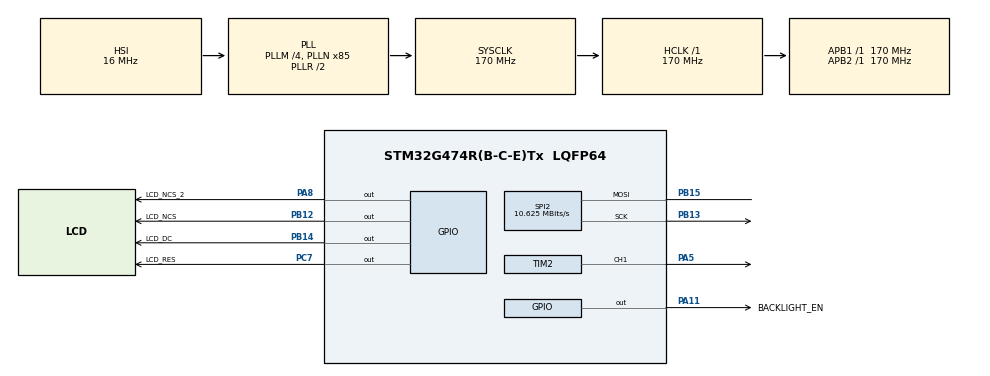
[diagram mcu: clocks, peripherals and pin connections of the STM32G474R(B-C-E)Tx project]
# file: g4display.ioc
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Dma.Request0=SPI2_TX
Dma.SPI2_TX.0.Direction=DMA_MEMORY_TO_PERIPH
Dma.SPI2_TX.0.EventEnable=DISABLE
Dma.SPI2_TX.0.Instance=DMA1_Channel1
Dma.SPI2_TX.0.MemDataAlignment=DMA_MDATAALIGN_BYTE
Dma.SPI2_TX.0.MemInc=DMA_MINC_ENABLE
Dma.SPI2_TX.0.Mode=DMA_NORMAL
Dma.SPI2_TX.0.PeriphDataAlignment=DMA_PDATAALIGN_BYTE
Dma.SPI2_TX.0.PeriphInc=DMA_PINC_DISABLE
Dma.SPI2_TX.0.Polarity=HAL_DMAMUX_REQ_GEN_RISING
Dma.SPI2_TX.0.Priority=DMA_PRIORITY_LOW
Dma.SPI2_TX.0.RequestNumber=1
Dma.SPI2_TX.0.SignalID=NONE
Dma.SPI2_TX.0.SyncEnable=DISABLE
Dma.SPI2_TX.0.SyncPolarity=HAL_DMAMUX_SYNC_NO_EVENT
Dma.SPI2_TX.0.SyncRequestNumber=1
Dma.SPI2_TX.0.SyncSignalID=NONE
FREERTOS.Tasks01=defaultTask,24,128,StartDefaultTask,Default,NULL,Dynamic,NULL,NULL
FREERTOS.configTOTAL_HEAP_SIZE=32768
Mcu.Family=STM32G4
Mcu.Name=STM32G474R(B-C-E)Tx
Mcu.Package=LQFP64
NVIC.DMA1_Channel1_IRQn=true\:5\:0\:false\:false\:true\:true\:false\:true\:true
NVIC.PriorityGroup=NVIC_PRIORITYGROUP_4
NVIC.TIM1_UP_TIM16_IRQn=true\:15\:0\:false\:false\:true\:false\:false\:true\:true
NVIC.TimeBase=TIM1_UP_TIM16_IRQn
NVIC.TimeBaseIP=TIM1
PA11.GPIO_Label=BACKLIGHT_EN
PA11.Signal=GPIO_Output
PA13.GPIO_Label=T_SWDIO
PA13.Signal=SYS_JTMS-SWDIO
PA14.GPIO_Label=T_SWCLK
PA14.Signal=SYS_JTCK-SWCLK
PA5.Signal=S_TIM2_CH1
PA8.GPIO_Label=LCD_NCS_2
PA8.Signal=GPIO_Output
PB12.GPIO_Label=LCD_NCS
PB12.Signal=GPIO_Output
PB13.GPIO_Speed=GPIO_SPEED_FREQ_VERY_HIGH
PB13.Mode=Simplex_Bidirectional_Master
PB13.Signal=SPI2_SCK
PB14.GPIO_Label=LCD_DC
PB14.Signal=GPIO_Output
PB15.GPIO_Speed=GPIO_SPEED_FREQ_VERY_HIGH
PB15.Mode=Simplex_Bidirectional_Master
PB15.Signal=SPI2_MOSI
PB3.GPIO_Label=T_SWO
PB3.Signal=SYS_JTDO-SWO
PC14-OSC32_IN.GPIO_Label=RCC_OSC32_IN
PC14-OSC32_IN.Signal=RCC_OSC32_IN
PC15-OSC32_OUT.GPIO_Label=RCC_OSC32_OUT
PC15-OSC32_OUT.Signal=RCC_OSC32_OUT
PC7.GPIO_Label=LCD_RES
PC7.Signal=GPIO_Output
PF0-OSC_IN.GPIO_Label=RCC_OSC_IN
PF0-OSC_IN.Signal=RCC_OSC_IN
PF1-OSC_OUT.GPIO_Label=RCC_OSC_OUT
PF1-OSC_OUT.Signal=RCC_OSC_OUT
ProjectManager.HeapSize=0x200
ProjectManager.StackSize=0x400
ProjectManager.TargetToolchain=CMake
RCC.ADC12Freq_Value=170000000
RCC.ADC345Freq_Value=170000000
RCC.AHBFreq_Value=170000000
RCC.APB1Freq_Value=170000000
RCC.APB1TimFreq_Value=170000000
RCC.APB2Freq_Value=170000000
RCC.APB2TimFreq_Value=170000000
RCC.CortexFreq_Value=170000000
RCC.EXTERNAL_CLOCK_VALUE=12288000
RCC.HCLKFreq_Value=170000000
RCC.HSE_VALUE=24000000
RCC.HSI48_VALUE=48000000
RCC.HSI_VALUE=16000000
RCC.LSE_VALUE=32768
RCC.PLLM=RCC_PLLM_DIV4
RCC.PLLN=85
RCC.RTCClockSelection=RCC_RTCCLKSOURCE_LSE
RCC.SYSCLKFreq_VALUE=170000000
RCC.SYSCLKSource=RCC_SYSCLKSOURCE_PLLCLK
RCC.USBFreq_Value=170000000
RCC.VCOOutputFreq_Value=340000000
SH.S_TIM2_CH1.0=TIM2_CH1,PWM Generation1 CH1
SPI2.BaudRatePrescaler=SPI_BAUDRATEPRESCALER_16
SPI2.CLKPhase=SPI_PHASE_1EDGE
SPI2.CalculateBaudRate=10.625 MBits/s
SPI2.DataSize=SPI_DATASIZE_8BIT
SPI2.Direction=SPI_DIRECTION_1LINE
SPI2.Mode=SPI_MODE_MASTER
SPI2.VirtualType=VM_MASTER
TIM2.Channel-PWM\ Generation1\ CH1=TIM_CHANNEL_1
TIM2.OCFastMode_PWM-PWM\ Generation1\ CH1=TIM_OCFAST_ENABLE
TIM2.PeriodNoDither=1000
VP_FREERTOS_VS_CMSIS_V2.Mode=CMSIS_V2
VP_SYS_VS_DBSignals.Mode=DisableDeadBatterySignals
VP_SYS_VS_tim1.Mode=TIM1
board=NUCLEO-G474RE

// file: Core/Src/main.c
/* USER CODE BEGIN Header */
/**
 ******************************************************************************
 * @file           : main.c
 * @brief          : Main program body
 ******************************************************************************
 * @attention
 *
 * Copyright (c) 2026 STMicroelectronics.
 * All rights reserved.
 *
 * This software is licensed under terms that can be found in the LICENSE file
 * in the root directory of this software component.
 * If no LICENSE file comes with this software, it is provided AS-IS.
 *
 ******************************************************************************
 */
/* USER CODE END Header */
#include "main.h"
#include "cmsis_os.h"
#include "dma.h"
#include "spi.h"
#include "tim.h"
#include "gpio.h"

/* USER CODE BEGIN Includes */
#include "LCDController.h"
/* USER CODE END Includes */

void SystemClock_Config(void);
void MX_FREERTOS_Init(void);

int main(void)
{

  /* MCU Configuration--------------------------------------------------------*/

  /* Reset of all peripherals, Initializes the Flash interface and the Systick. */
  HAL_Init();

  /* Configure the system clock */
  SystemClock_Config();

  /* Initialize all configured peripherals */
  MX_GPIO_Init();
  MX_DMA_Init();
  MX_SPI2_Init();
  MX_TIM2_Init();
  /* USER CODE BEGIN 2 */
  /* lv_init() and lv_port_disp_init() are called in StartDefaultTask
   * because ST7789_Init uses osDelay which requires the RTOS scheduler. */
  /* USER CODE END 2 */

  /* Init scheduler */
  osKernelInitialize();  /* Call init function for freertos objects (in cmsis_os2.c) */
  MX_FREERTOS_Init();

  /* Start scheduler */
  osKernelStart();

  /* We should never get here as control is now taken by the scheduler */

  /* Infinite loop */
  while (1) {

  }
}

void SystemClock_Config(void)
{
  RCC_OscInitTypeDef RCC_OscInitStruct = {0};
  RCC_ClkInitTypeDef RCC_ClkInitStruct = {0};

  /** Configure the main internal regulator output voltage
  */
  HAL_PWREx_ControlVoltageScaling(PWR_REGULATOR_VOLTAGE_SCALE1_BOOST);

  /** Initializes the RCC Oscillators according to the specified parameters
  * in the RCC_OscInitTypeDef structure.
  */
  RCC_OscInitStruct.OscillatorType = RCC_OSCILLATORTYPE_HSI;
  RCC_OscInitStruct.HSIState = RCC_HSI_ON;
  RCC_OscInitStruct.HSICalibrationValue = RCC_HSICALIBRATION_DEFAULT;
  RCC_OscInitStruct.PLL.PLLState = RCC_PLL_ON;
  RCC_OscInitStruct.PLL.PLLSource = RCC_PLLSOURCE_HSI;
  RCC_OscInitStruct.PLL.PLLM = RCC_PLLM_DIV4;
  RCC_OscInitStruct.PLL.PLLN = 85;
  RCC_OscInitStruct.PLL.PLLP = RCC_PLLP_DIV2;
  RCC_OscInitStruct.PLL.PLLQ = RCC_PLLQ_DIV2;
  RCC_OscInitStruct.PLL.PLLR = RCC_PLLR_DIV2;
  if (HAL_RCC_OscConfig(&RCC_OscInitStruct) != HAL_OK)
  {
    Error_Handler();
  }

  /** Initializes the CPU, AHB and APB buses clocks
  */
  RCC_ClkInitStruct.ClockType = RCC_CLOCKTYPE_HCLK|RCC_CLOCKTYPE_SYSCLK
                              |RCC_CLOCKTYPE_PCLK1|RCC_CLOCKTYPE_PCLK2;
  RCC_ClkInitStruct.SYSCLKSource = RCC_SYSCLKSOURCE_PLLCLK;
  RCC_ClkInitStruct.AHBCLKDivider = RCC_SYSCLK_DIV1;
  RCC_ClkInitStruct.APB1CLKDivider = RCC_HCLK_DIV1;
  RCC_ClkInitStruct.APB2CLKDivider = RCC_HCLK_DIV1;

  if (HAL_RCC_ClockConfig(&RCC_ClkInitStruct, FLASH_LATENCY_4) != HAL_OK)
  {
    Error_Handler();
  }
}

void HAL_TIM_PeriodElapsedCallback(TIM_HandleTypeDef *htim)
{
  if (htim->Instance == TIM1)
  {
    HAL_IncTick();
  }
}

void Error_Handler(void)
{
  __disable_irq();
  while (1) {
  }
}
#ifdef USE_FULL_ASSERT
/**
  * @brief  Reports the name of the source file and the source line number
  *         where the assert_param error has occurred.
  * @param  file: pointer to the source file name
  * @param  line: assert_param error line source number
  * @retval None
  */
void assert_failed(uint8_t *file, uint32_t line)
{
  /* USER CODE BEGIN 6 */
  /* User can add his own implementation to report the file name and line
     number, ex: printf("Wrong parameters value: file %s on line %d\r\n", file,
     line) */
  /* USER CODE END 6 */
}
#endif /* USE_FULL_ASSERT */

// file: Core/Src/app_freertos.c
/* USER CODE BEGIN Header */
/**
 ******************************************************************************
 * File Name          : app_freertos.c
 * Description        : Code for freertos applications
 ******************************************************************************
 * @attention
 *
 * Copyright (c) 2026 STMicroelectronics.
 * All rights reserved.
 *
 * This software is licensed under terms that can be found in the LICENSE file
 * in the root directory of this software component.
 * If no LICENSE file comes with this software, it is provided AS-IS.
 *
 ******************************************************************************
 */
/* USER CODE END Header */

#include "FreeRTOS.h"
#include "cmsis_os.h"
#include "main.h"
#include "task.h"

/* USER CODE BEGIN Includes */
#include "LCDController.h"
#include "tim.h"
#include <cmsis_os2.h>
#include <screens/ui_Screen1.h>
#include <spi.h>
#include <stdio.h>
#include <stm32g4xx_hal_tim.h>
#include <ui.h>
#include <ui_helpers.h>

/* USER CODE END Includes */

/* Mutex for protecting LVGL access from multiple tasks */
osMutexId_t lvgl_mutex;
const osMutexAttr_t lvgl_mutex_attr = {
    "lvgl_mutex",                          // human readable name
    osMutexRecursive | osMutexPrioInherit, // attr_bits
    NULL,                                  // memory
    0                                      // size
};

/* Definitions for defaultTask */
osThreadId_t defaultTaskHandle;
const osThreadAttr_t defaultTask_attributes = {
    .name = "defaultTask",
    .priority = (osPriority_t)osPriorityNormal,
    .stack_size = 512 * 4};

const osThreadAttr_t lvgl_tick_attributes = {.name = "lvgl_tick",
                                             .priority =
                                                 (osPriority_t)osPriorityNormal,
                                             .stack_size = 256 * 4};

const osThreadAttr_t lvgl_timer_attributes = {
    .name = "lvgl_timer",
    .priority = (osPriority_t)osPriorityNormal,
    .stack_size = 512 * 4};

/* USER CODE BEGIN FunctionPrototypes */
/* LVGL timer for tasks. */
void LVGLTimer(void *argument) {
  for (;;) {
    osMutexAcquire(lvgl_mutex, osWaitForever);
    lv_timer_handler();
    osMutexRelease(lvgl_mutex);
    osDelay(20);
  }
}
/* LVGL tick source */
void LVGLTick(void *argument) {
  for (;;) {
    lv_tick_inc(10);
    osDelay(10);
  }
}

/* USER CODE END FunctionPrototypes */

void StartDefaultTask(void *argument);

void MX_FREERTOS_Init(void); /* (MISRA C 2004 rule 8.1) */

void MX_FREERTOS_Init(void) {

  /* USER CODE BEGIN RTOS_MUTEX */
  lvgl_mutex = osMutexNew(&lvgl_mutex_attr);
  /* USER CODE END RTOS_MUTEX */

  /* Create the thread(s) */
  /* creation of defaultTask */
  defaultTaskHandle =
      osThreadNew(StartDefaultTask, NULL, &defaultTask_attributes);

  /* USER CODE BEGIN RTOS_THREADS */
  osThreadNew(LVGLTick, NULL, &lvgl_tick_attributes);
  osThreadNew(LVGLTimer, NULL, &lvgl_timer_attributes);
  /* USER CODE END RTOS_THREADS */

}

void StartDefaultTask(void *argument) {
  /* USER CODE BEGIN StartDefaultTask */

  /* Hardware reset the display */
  HAL_GPIO_WritePin(LCD_RES_GPIO_Port, LCD_RES_Pin, GPIO_PIN_RESET);
  osDelay(50);
  HAL_GPIO_WritePin(LCD_RES_GPIO_Port, LCD_RES_Pin, GPIO_PIN_SET);
  osDelay(50);
  HAL_GPIO_WritePin(BACKLIGHT_EN_GPIO_Port, BACKLIGHT_EN_Pin, GPIO_PIN_SET);

  /* Initialize LVGL and the display driver (must be done after RTOS starts,
   * because ST7789_Init uses osDelay) */
  lv_init();
  lv_port_disp_init();
  ui_init();

  lv_scr_load_anim(ui_Screen1, LV_SCR_LOAD_ANIM_FADE_IN, 500, 0, true);

  // lv_obj_set_style_bg_color(lv_scr_act(), lv_color_hex(0x003a57),
  // LV_PART_MAIN);

  /*Create a spinner*/
  // lv_obj_t *spinner = lv_spinner_create(lv_scr_act(), 1000, 60);
  // lv_obj_set_size(spinner, 64, 64);
  // lv_obj_align(spinner, LV_ALIGN_BOTTOM_MID, 0, 0);

  char buffer[100];
  HAL_TIM_PWM_Start(&htim2, TIM_CHANNEL_1);
  uint32_t diff = 0;
  float pct = 0.0f;
  for (;;) {
    uint32_t start = osKernelGetTickCount();
    sprintf(buffer, "Hello World %u", diff);
    lv_textarea_set_text(ui_TextArea1, buffer);
    lv_bar_set_value(ui_Bar2, (int32_t)(pct * 100), LV_ANIM_ON);
    osMutexRelease(lvgl_mutex);
    pct += 0.01f;
    if (pct > 1.0f) {
      pct = 0.0f;
    }
    __HAL_TIM_SET_COMPARE(&htim2, TIM_CHANNEL_1, (uint32_t)(pct * 1000));
    osDelay(50);

    osMutexAcquire(lvgl_mutex, osWaitForever);
    diff = osKernelGetTickCount() - start;
  }
  /* USER CODE END StartDefaultTask */
}
